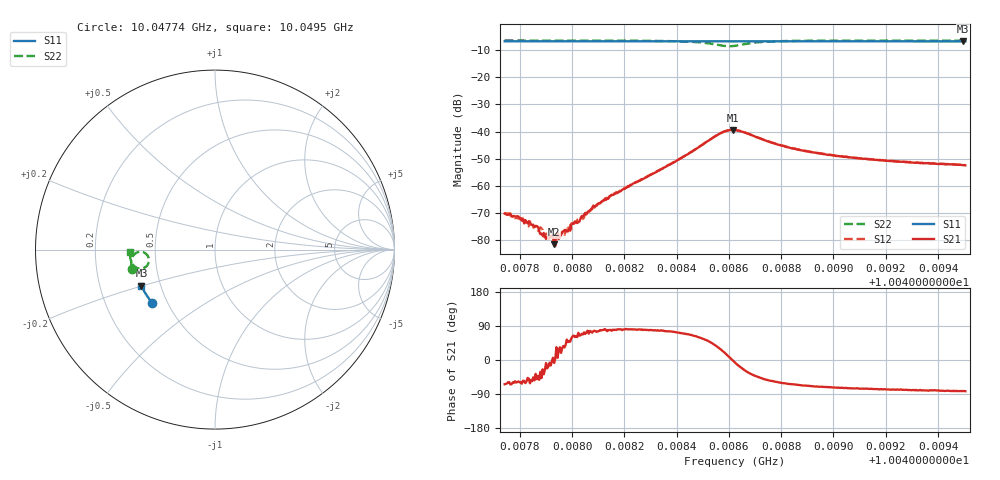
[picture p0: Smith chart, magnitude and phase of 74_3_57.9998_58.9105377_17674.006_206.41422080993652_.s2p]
#  HZ  S  RI  R  50.00
! Rohde & Schwarz Vector Network Analyzer
! Rohde-Schwarz,ZNB20-2Port,1311601062101988,3.16
! Created: UTC 3/21/2024, 12:53:38 AM
! freq[Hz]  re:S11  im:S11  re:S21  im:S21  re:S12  im:S12  re:S22  im:S22
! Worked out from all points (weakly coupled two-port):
!   401 points, 10.04774 GHz to 10.0495 GHz, reference 50 ohm
!   highest |S21| = -39.41 dB at 10.04861 GHz (marker M1); lowest = -81.5 dB at 10.04793 GHz (marker M2)
!   lowest |S11| = -6.8 dB at 10.0495 GHz (marker M3), VSWR 2.68, Z = 19.5 - j9.9 ohm
!   |S11| at or under -10 dB: nowhere
!   |S22| runs from -8.6 to -6.5 dB; largest |S21 - S12| = 0.00076
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1.0047742e10  -0.3493 -0.2992  0.000136 -0.000278  0.000146 -0.000279  -0.463 -0.109
1.0047795e10  -0.3514 -0.2964  0.00015 -0.000226  0.000135 -0.00021  -0.4638 -0.1049
1.0047808e10  -0.3519 -0.2956  0.000105 -0.000202  0.00016 -0.000218  -0.4639 -0.1039
1.0047826e10  -0.3527 -0.2946  0.000118 -0.000182  0.000138 -0.00017  -0.4641 -0.1025
1.0047861e10  -0.3541 -0.2929  0.000145 -0.000108  0.00014 -0.000119  -0.4645 -0.0996
1.0047905e10  -0.356 -0.2905  0.000108 -4.39e-05  0.000118 -3.94e-05  -0.465 -0.0962
1.0047932e10  -0.3571 -0.2892  8.35e-05 -1.14e-05  9.3e-05 1.5e-05  -0.4652 -0.0939
1.0047945e10  -0.3575 -0.2885  0.000137 1.42e-05  0.000102 3.92e-06  -0.4654 -0.0928
1.0047984e10  -0.3593 -0.2863  9.83e-05 0.000106  9.88e-05 0.000139  -0.4658 -0.0893
1.0048006e10  -0.3601 -0.2852  8.66e-05 0.000182  7.43e-05 0.000197  -0.4659 -0.0875
1.0048024e10  -0.3607 -0.2842  6.66e-05 0.000204  9.38e-05 0.000223  -0.4661 -0.0858
1.0048037e10  -0.3613 -0.2835  9.9e-05 0.000261  8.86e-05 0.000252  -0.4663 -0.0847
1.0048139e10  -0.3652 -0.2781  0.00011 0.000571  5.01e-05 0.00059  -0.4665 -0.075
1.0048332e10  -0.3726 -0.2673  0.000416 0.00187  0.000306 0.00191  -0.4635 -0.0502
1.0048562e10  -0.3801 -0.2542  0.00765 0.00475  0.0074 0.00521  -0.3909 -0.0186
1.0048614e10  -0.3815 -0.2516  0.0107 -0.000259  0.0107 0.000494  -0.3689 -0.0678
1.0048623e10  -0.3819 -0.2514  0.0106 -0.00132  0.0107 -0.000562  -0.3715 -0.0771
1.0048791e10  -0.3884 -0.2424  0.00294 -0.00489  0.00324 -0.00476  -0.4522 -0.0907
1.0048918e10  -0.3927 -0.2349  0.0015 -0.00389  0.00174 -0.00379  -0.4653 -0.0701
1.0049214e10  -0.402 -0.2176  0.000588 -0.00279  0.000792 -0.00279  -0.4729 -0.039
1.0049496e10  -0.4101 -0.2009  0.000346 -0.00238  0.000451 -0.00238  -0.4747 -0.0162
1.0049504e10  -0.4104 -0.2004  0.00032 -0.00236  0.000459 -0.00238  -0.4747 -0.0156
